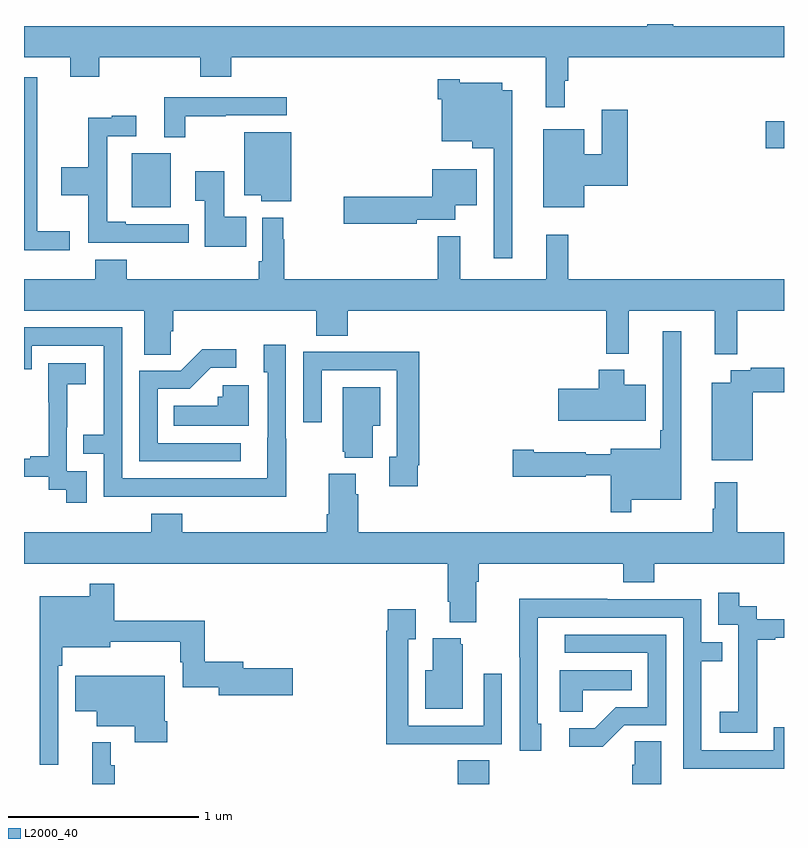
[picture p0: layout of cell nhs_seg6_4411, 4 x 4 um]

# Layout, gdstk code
import gdstk
lib = gdstk.Library(unit=1e-6, precision=1e-09)
def R(c, l, rs):  # rectangles x0, y0, x1, y1
    for r in rs: c.add(gdstk.rectangle(r[:2], r[2:], *l))
def P(c, l, *ps):  # polygons
    for p in ps: c.add(gdstk.Polygon(p, *l))
L2000_40 = (2000, 40)

nhs_seg6_4411 = lib.new_cell('nhs_seg6_4411')
R(nhs_seg6_4411, L2000_40, [(373.283,955.5,373.448,955.625), (371.567,958.535,371.773,958.819), (374.904,958.847,375,958.989)])
P(nhs_seg6_4411, L2000_40, [(373.847,959.201),(373.865,959.201),(373.865,959.324),(375,959.324),(375,959.488),(374.417,959.488),(374.417,959.5),(374.281,959.5),(374.281,959.488),(371,959.488),(371,959.324),(371.243,959.324),(371.243,959.222),(371.396,959.222),(371.396,959.324),(371.927,959.324),(371.927,959.222),(372.092,959.222),(372.092,959.324),(373.747,959.324),(373.747,959.061),(373.847,959.061)],
  [(371.242,958.409),(371.071,958.409),(371.071,959.221),(371,959.221),(371,958.31),(371.242,958.31)],
  [(373.57,959.152),(373.516,959.152),(373.516,959.191),(373.293,959.191),(373.293,959.209),(373.178,959.209),(373.178,959.105),(373.199,959.105),(373.199,958.883),(373.358,958.883),(373.358,958.847),(373.473,958.847),(373.473,958.266),(373.57,958.266)],
  [(371.848,959.014),(372.062,959.014),(372.062,959.019),(372.382,959.019),(372.382,959.115),(371.738,959.115),(371.738,958.904),(371.848,958.904)],
  [(373.948,958.649),(374.177,958.649),(374.177,959.05),(374.042,959.05),(374.042,958.814),(373.948,958.814),(373.948,958.945),(373.733,958.945),(373.733,958.535),(373.948,958.535)],
  [(371.866,958.446),(371.536,958.446),(371.536,958.459),(371.439,958.459),(371.439,958.908),(371.59,958.908),(371.59,959.017),(371.462,959.017),(371.462,959.006),(371.338,959.006),(371.338,958.746),(371.196,958.746),(371.196,958.598),(371.338,958.598),(371.338,958.35),(371.623,958.35),(371.623,958.349),(371.866,958.349)],
  [(372.406,958.93),(372.158,958.93),(372.158,958.598),(372.248,958.598),(372.248,958.568),(372.406,958.568)],
  [(373.068,958.469),(373.27,958.469),(373.27,958.547),(373.384,958.547),(373.384,958.735),(373.148,958.735),(373.148,958.592),(372.684,958.592),(372.684,958.45),(373.068,958.45)],
  [(372.17,958.486),(372.055,958.486),(372.055,958.726),(371.901,958.726),(371.901,958.57),(371.951,958.57),(371.951,958.328),(372.17,958.328)],
  [(371.772,957.883),(371.786,957.883),(371.786,957.992),(372.539,957.992),(372.539,957.859),(372.704,957.859),(372.704,957.992),(374.065,957.992),(374.065,957.764),(374.183,957.764),(374.183,957.992),(374.636,957.992),(374.636,957.763),(374.753,957.763),(374.753,957.992),(375,957.992),(375,958.156),(373.865,958.156),(373.865,958.39),(373.748,958.39),(373.748,958.156),(373.295,958.156),(373.295,958.384),(373.177,958.384),(373.177,958.156),(372.371,958.156),(372.371,958.367),(372.364,958.367),(372.364,958.48),(372.255,958.48),(372.255,958.252),(372.235,958.252),(372.235,958.156),(371.54,958.156),(371.54,958.258),(371.375,958.258),(371.375,958.156),(371,958.156),(371,957.992),(371.633,957.992),(371.633,957.76),(371.772,957.76)],
  [(372.381,957.317),(372.378,957.317),(372.378,957.811),(372.263,957.811),(372.263,957.666),(372.282,957.666),(372.282,957.323),(372.281,957.323),(372.281,957.108),(371.517,957.108),(371.517,957.903),(371,957.903),(371,957.684),(371.04,957.684),(371.04,957.807),(371.421,957.807),(371.421,957.338),(371.311,957.338),(371.311,957.237),(371.421,957.237),(371.421,957.012),(371.917,957.012),(371.917,957.011),(372.381,957.011)],
  [(374.197,956.996),(374.458,956.996),(374.458,957.883),(374.361,957.883),(374.361,957.361),(374.349,957.361),(374.349,957.265),(374.087,957.265),(374.087,957.235),(373.956,957.235),(373.956,957.247),(373.684,957.247),(373.684,957.26),(373.572,957.26),(373.572,957.118),(373.956,957.118),(373.956,957.126),(374.087,957.126),(374.087,956.931),(374.197,956.931)],
  [(372.142,957.294),(371.703,957.294),(371.703,957.579),(371.872,957.579),(371.983,957.69),(372.118,957.69),(372.118,957.788),(371.939,957.788),(371.826,957.675),(371.607,957.675),(371.607,957.198),(372.142,957.198)],
  [(373.072,957.178),(373.079,957.178),(373.079,957.776),(372.787,957.776),(372.787,957.774),(372.471,957.774),(372.471,957.405),(372.567,957.405),(372.567,957.678),(372.963,957.678),(372.963,957.222),(372.923,957.222),(372.923,957.066),(373.072,957.066)],
  [(371.331,957.147),(371.226,957.147),(371.226,957.377),(371.228,957.377),(371.228,957.605),(371.326,957.605),(371.326,957.715),(371.128,957.715),(371.128,957.509),(371.129,957.509),(371.129,957.226),(371.033,957.226),(371.033,957.213),(371,957.213),(371,957.117),(371.13,957.117),(371.13,957.049),(371.223,957.049),(371.223,956.979),(371.331,956.979)],
  [(374.836,957.562),(375,957.562),(375,957.691),(374.824,957.691),(374.824,957.678),(374.72,957.678),(374.72,957.613),(374.621,957.613),(374.621,957.203),(374.836,957.203)],
  [(374.272,957.601),(374.158,957.601),(374.158,957.679),(374.024,957.679),(374.024,957.579),(373.812,957.579),(373.812,957.413),(374.272,957.413)],
  [(372.184,957.598),(372.045,957.598),(372.045,957.537),(372.019,957.537),(372.019,957.49),(371.788,957.49),(371.788,957.386),(372.184,957.386)],
  [(372.835,957.386),(372.874,957.386),(372.874,957.589),(372.677,957.589),(372.677,957.249),(372.689,957.249),(372.689,957.218),(372.835,957.218)],
  [(373.229,956.458),(373.241,956.458),(373.241,956.351),(373.381,956.351),(373.381,956.564),(373.394,956.564),(373.394,956.66),(374.153,956.66),(374.153,956.561),(374.318,956.561),(374.318,956.66),(375,956.66),(375,956.824),(374.753,956.824),(374.753,957.088),(374.636,957.088),(374.636,956.948),(374.625,956.948),(374.625,956.824),(372.758,956.824),(372.758,957.026),(372.745,957.026),(372.745,957.133),(372.605,957.133),(372.605,956.92),(372.593,956.92),(372.593,956.824),(371.834,956.824),(371.834,956.923),(371.669,956.923),(371.669,956.824),(371,956.824),(371,956.66),(373.229,956.66)],
  [(371.181,956.123),(371.201,956.123),(371.201,956.219),(371.455,956.219),(371.455,956.249),(371.823,956.249),(371.823,956.142),(371.835,956.142),(371.835,956.008),(372.026,956.008),(372.026,955.966),(372.415,955.966),(372.415,956.108),(372.154,956.108),(372.154,956.144),(371.951,956.144),(371.951,956.359),(371.474,956.359),(371.474,956.554),(371.346,956.554),(371.346,956.488),(371.084,956.488),(371.084,955.602),(371.181,955.602)],
  [(374.859,955.975),(374.858,955.975),(374.858,956.259),(374.953,956.259),(374.953,956.271),(375,956.271),(375,956.367),(374.856,956.367),(374.856,956.436),(374.764,956.436),(374.764,956.506),(374.655,956.506),(374.655,956.337),(374.76,956.337),(374.76,956.108),(374.759,956.108),(374.759,955.879),(374.661,955.879),(374.661,955.769),(374.859,955.769)],
  [(375,955.8),(374.946,955.8),(374.946,955.677),(374.565,955.677),(374.565,956.146),(374.675,956.146),(374.675,956.247),(374.565,956.247),(374.565,956.472),(374.069,956.472),(374.069,956.474),(373.606,956.474),(373.606,956.167),(373.608,956.167),(373.608,955.674),(373.723,955.674),(373.723,955.818),(373.704,955.818),(373.704,956.376),(374.469,956.376),(374.469,955.581),(375,955.581)],
  [(373.199,955.71),(373.515,955.71),(373.515,956.08),(373.419,956.08),(373.419,955.806),(373.023,955.806),(373.023,956.263),(373.063,956.263),(373.063,956.419),(372.915,956.419),(372.915,956.306),(372.907,956.306),(372.907,955.709),(373.199,955.709)],
  [(374.16,955.809),(374.379,955.809),(374.379,956.286),(373.845,956.286),(373.845,956.19),(374.283,956.19),(374.283,955.905),(374.114,955.905),(374.003,955.794),(373.869,955.794),(373.869,955.697),(374.047,955.697)],
  [(373.309,956.235),(373.298,956.235),(373.298,956.266),(373.151,956.266),(373.151,956.098),(373.112,956.098),(373.112,955.895),(373.309,955.895)],
  [(373.941,955.994),(374.198,955.994),(374.198,956.098),(373.82,956.098),(373.82,955.879),(373.941,955.879)],
  [(371.753,955.831),(371.74,955.831),(371.74,956.071),(371.27,956.071),(371.27,955.883),(371.384,955.883),(371.384,955.805),(371.582,955.805),(371.582,955.719),(371.753,955.719)],
  [(374.353,955.724),(374.214,955.724),(374.214,955.601),(374.201,955.601),(374.201,955.5),(374.353,955.5)],
  [(371.477,955.599),(371.457,955.599),(371.457,955.72),(371.36,955.72),(371.36,955.5),(371.477,955.5)])

lib.write_gds('nhs_seg6_4411.gds')
